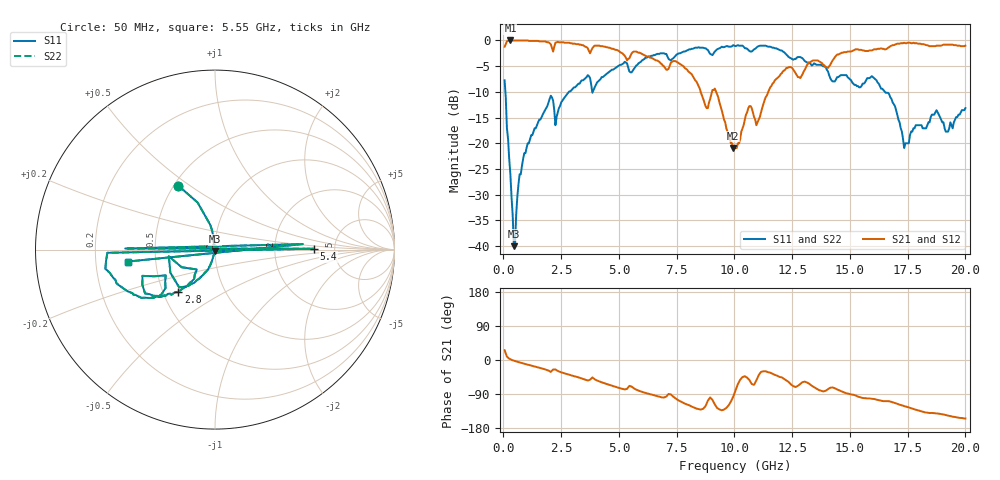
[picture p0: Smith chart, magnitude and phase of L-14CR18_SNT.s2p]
#	mhz	s	ma	r	50
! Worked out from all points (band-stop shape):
!   400 points, 50 MHz to 20 GHz, reference 50 ohm
!   highest |S21| = 0.00 dB at 300 MHz (marker M1); lowest = -20.9 dB at 9.95 GHz (marker M2)
!   |S21| within 3 dB of the highest: start of sweep to 5.253 GHz; 14.39 GHz to end of sweep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
!   lowest |S11| = -40.0 dB at 450 MHz (marker M3), VSWR 1.02, Z = 49.8 - j0.982 ohm
!   |S11| at or under -10 dB: 84.05 MHz to 2.831 GHz (2.747 GHz wide, 188 % of centre); 3.844 GHz to 3.866 GHz (21.53 MHz wide, 0.558 % of centre); 16.52 GHz to end of sweep
!   |S22| runs from -40.0 to -0.9 dB; largest |S21 - S12| = 0
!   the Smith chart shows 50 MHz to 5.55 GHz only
!   S11 on the Smith chart (normalised r, x): 50 MHz: 0.53, +0.45; 2.8 GHz: 0.60, -0.31; 5.4 GHz: 3.44, +0.05; 5.55 GHz: 0.34, -0.06
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50  0.41 119.8  0.87 25.9  0.87 25.9  0.41 119.8
300  0.05 99.1  1 2.0  1 2.0  0.05 99.1
450  0.01 -99.7  1 -1.8  1 -1.8  0.01 -99.7
1050  0.1 -107.7  1 -12.1  1 -12.1  0.1 -107.7
2800  0.31 -131.1  0.95 -38.0  0.95 -38.0  0.31 -131.1
3400  0.41 -139.9  0.9 -48.9  0.9 -48.9  0.41 -139.9
5350  0.6 -178.3  0.64 -76.2  0.64 -76.2  0.6 -178.3
5400  0.55 0.5  0.66 -72.3  0.66 -72.3  0.55 0.5
5450  0.5 179.3  0.67 -68.3  0.67 -68.3  0.5 179.3
5500  0.49 3.6  0.71 -69.3  0.71 -69.3  0.49 3.6
5550  0.49 -172.2  0.75 -70.3  0.75 -70.3  0.49 -172.2
6150  0.68 -178.1  0.71 -86.9  0.71 -86.9  0.68 -178.1
6200  0.68 0.7  0.7 -87.8  0.7 -87.8  0.68 0.7
6250  0.69 179.4  0.7 -88.7  0.7 -88.7  0.69 179.4
6700  0.74 171.2  0.63 -96.0  0.63 -96.0  0.74 171.2
9150  0.78 118.0  0.34 -117.0  0.34 -117.0  0.78 118.0
9950  0.9 106.3  0.09 -96.5  0.09 -96.5  0.9 106.3
10050  0.88 104.8  0.09 -80.4  0.09 -80.4  0.88 104.8
13350  0.57 38.9  0.63 -68.0  0.63 -68.0  0.57 38.9
16700  0.3 -16.7  0.86 -109.1  0.86 -109.1  0.3 -16.7
17350  0.09 -1.5  0.95 -121.7  0.95 -121.7  0.09 -1.5
20000  0.22 -69.5  0.89 -154.3  0.89 -154.3  0.22 -69.5
